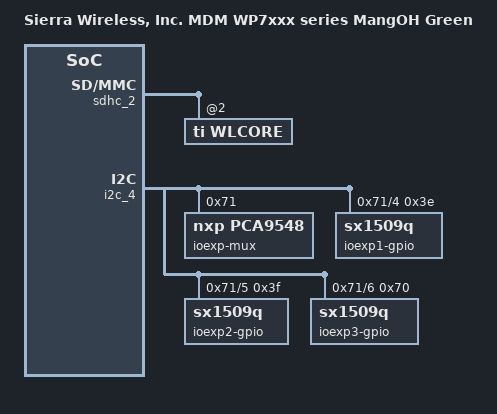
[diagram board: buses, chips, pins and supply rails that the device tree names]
/*
 * Copyright (c) 2019, The Linux Foundation. All rights reserved.
 *
 * This program is free software; you can redistribute it and/or modify
 * it under the terms of the GNU General Public License version 2 and
 * only version 2 as published by the Free Software Foundation.
 *
 * This program is distributed in the hope that it will be useful,
 * but WITHOUT ANY WARRANTY; without even the implied warranty of
 * MERCHANTABILITY or FITNESS FOR A PARTICULAR PURPOSE.  See the
 * GNU General Public License for more details.
 */

/ {
	model = "Sierra Wireless, Inc. MDM WP7xxx series MangOH Green";
	compatible = "qcom,mdm9607-mtp", "qcom,mdm9607", "qcom,mtp";
	qcom,board-id = <8 0x83>;
};

&sdhc_2 {
	status = "ok";
	ti,non-removable;
	ti,needs-special-hs-handling;
	cap-power-off-card;
	keep-power-in-suspend;
	wlcore: wlcore@0 {
		compatible = "ti,wlcore";
		reg = <2>;
	};
};

&soc {
	sierra_gpio {
		// IO expander 1
		alias-ARDUINO_RESET_LEVEL = <300 0>;
		alias-BATTCHRGR_PG_N = <301 0>;
		alias-BATTGAUGE_GPIO = <302 0>;
		alias-LED_ON = <303 0>;
		alias-ATMEGA_RESET_GPIO = <304 0>;
		alias-CONNECT_TO_AV_LED = <305 0>;
		alias-PCM_ANALOG_SELECT = <306 0>;
		alias-CONNECT_TO_AV = <307 0>;
		alias-BOARD_REV_RES1 = <308 0>;
		alias-BOARD_REV_RES2 = <309 0>;
		alias-UART_EXP1_ENN = <310 0>;
		alias-UART_EXP1_IN = <311 0>;
		alias-UART_EXP2_IN = <312 0>;
		alias-SDIO_SEL = <313 0>;
		alias-SPI_EXP1_ENN = <314 0>;
		alias-SPI_EXP1_IN = <315 0>;
		// IO expander 2
		alias-IOT0_GPIO3 = <320 0>;
		alias-IOT0_GPIO2 = <321 0>;
		alias-IOT0_GPIO1 = <322 0>;
		alias-IOT1_GPIO3 = <323 0>;
		alias-IOT1_GPIO2 = <324 0>;
		alias-IOT1_GPIO1 = <325 0>;
		alias-IOT2_GPIO3 = <326 0>;
		alias-IOT2_GPIO2 = <327 0>;
		alias-IOT2_GPIO1 = <328 0>;
		alias-SENSOR_INT1 = <329 0>;
		alias-SENSOR_INT2 = <330 0>;
		alias-CARD_DETECT_IOT0 = <331 0>;
		alias-CARD_DETECT_IOT2 = <332 0>;
		alias-CARD_DETECT_IOT1 = <333 0>;
		alias-GPIOEXP_INT3 = <334 0>;
		alias-BATTCHRGR_INT = <335 0>;
		// IO expander 3
		alias-USB_HUB_INTN = <340 0>;
		alias-HUB_CONNECT = <341 0>;
		alias-GPIO_IOT2_RESET = <342 0>;
		alias-GPIO_IOT1_RESET = <343 0>;
		alias-GPIO_IOT0_RESET = <344 0>;
		alias-IOT0_GPIO4 = <345 0>;
		alias-IOT1_GPIO4 = <346 0>;
		alias-IOT2_GPIO4 = <347 0>;
		alias-UART_EXP2_ENN = <348 0>;
		alias-PCM_EXP1_ENN = <349 0>;
		alias-PCM_EXP1_SEL = <350 0>;
		alias-ARD_FTDI = <351 0>;
		alias-LCD_ON_OFF = <352 0>;
		alias-FAST_SIM_SWITCH = <353 0>;
		alias-ARDUINO_USB_CTRL = <354 0>;
		alias-RS232_ENABLE = <355 0>;
	};
};

&i2c_4 {
	ioexp-mux@71 {
		// IO expanders are below the I2C switch PCA9548
		compatible = "nxp,pca9548";
		reg = <0x71>;
		#address-cells = <1>;
		#size-cells = <0>;

		i2c@4 {
			// IO expander 1: channel 4
			#address-cells = <1>;
			#size-cells = <0>;
			reg = <4>;
			ioexp1_gpios: io_exp@3e {
				#gpio-cells = <2>;
				gpio-controller;
				compatible = "sx1509q";
				reg = <0x3e>;
				sx150x,pullup_ena = <0x0>;
				sx150x,pulldn_ena = <0x0>;
				sx150x,float_ena = <0x0>;
				sx150x,polarity = <0x0>;
				label = "ioexp1-gpio";
				sx150x,gpio_base = <300>;
			};
		};
		i2c@5 {
			// IO expander 1: channel 5
			#address-cells = <1>;
			#size-cells = <0>;
			reg = <5>;
			ioexp2_gpios: io_exp@3f {
				#gpio-cells = <2>;
				gpio-controller;
				compatible = "sx1509q";
				reg = <0x3f>;
				/* Set pullup for GPIO 11, 12, 13 to select card inserted */
				sx150x,pullup_ena = <0x3800>;
				sx150x,pulldn_ena = <0x0>;
				sx150x,float_ena = <0x0>;
				sx150x,polarity = <0x0>;
				label = "ioexp2-gpio";
				sx150x,gpio_base = <320>;
			};
		};
		i2c@6 {
			// IO expander 3: channel 6
			#address-cells = <1>;
			#size-cells = <0>;
			reg = <6>;
			ioexp3_gpios: io_exp@70 {
				#gpio-cells = <2>;
				gpio-controller;
				compatible = "sx1509q";
				reg = <0x70>;
				sx150x,pullup_ena = <0x0>;
				sx150x,pulldn_ena = <0x0>;
				sx150x,float_ena = <0x0>;
				sx150x,polarity = <0x0>;
				label = "ioexp3-gpio";
				sx150x,gpio_base = <340>;
			};
		};
	};
};


